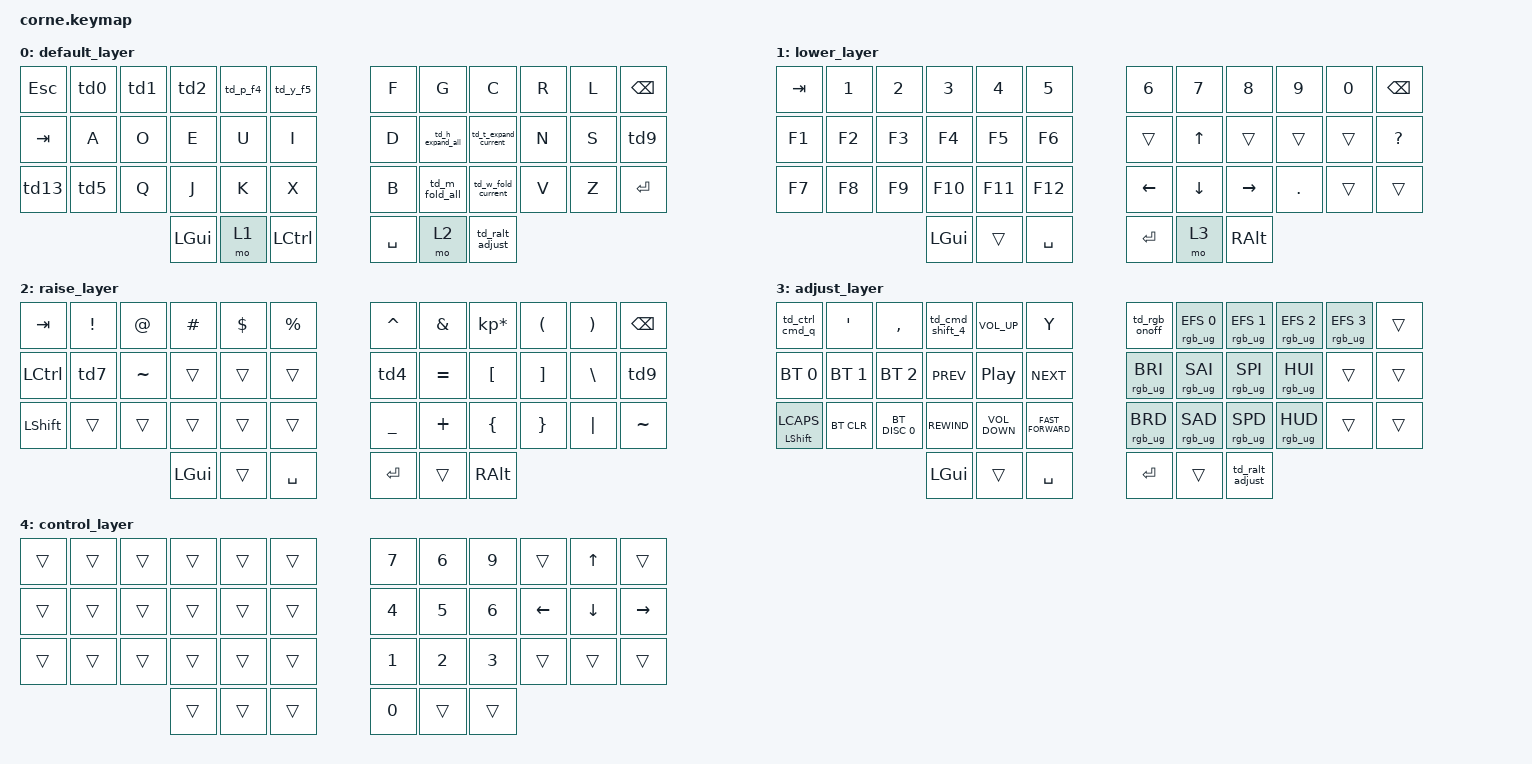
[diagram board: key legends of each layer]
/*
 * Corne Keyboard Keymap
 *
 * Based on the ZMK configuration for the Corne keyboard.
 * Original keymap source: https://github.com/SquaredPotato/zmk-config/blob/master/config/kyria.keymap
 *
 * Copyright (c) 2020 The ZMK Contributors
 *
 * SPDX-License-Identifier: MIT

 */
#include <behaviors.dtsi>
#include <dt-bindings/zmk/keys.h>
#include <dt-bindings/zmk/bt.h>
#include <dt-bindings/zmk/rgb.h>

// #include <../boards/shields/corne/boards/nice_nano.overlay> //led interno

/ {
    // Use tapdance to handle the double tap of the shift key
        behaviors {

        //? TAP DANCE ('' and "")
        td0: tap_dance_0 {
            compatible = "zmk,behavior-tap-dance";
            #binding-cells = <0>;
            tapping-term-ms = <185>;
            bindings = <&kp SQT>, <&kp DQT>;
        };

        //? TAP DANCE (, and <)
        td1: tap_dance_1 {
            compatible = "zmk,behavior-tap-dance";
            #binding-cells = <0>;
            tapping-term-ms = <185>;
            bindings = <&kp COMMA>, <&kp LT>;
        };

        //? TAP DANCE (. and >)
        td2: tap_dance_2 {
            compatible = "zmk,behavior-tap-dance";
            #binding-cells = <0>;
            tapping-term-ms = <185>;
            bindings = <&kp DOT>, <&kp GT>;
        };

        //? TAP DANCE (- and _)
        td4: tap_dance_4 {
            compatible = "zmk,behavior-tap-dance";
            #binding-cells = <0>;
            tapping-term-ms = <185>;
            bindings = <&kp MINUS>, <&kp UNDER>;
        };

        //? TAP DANCE (; and :)
        td5: tap_dance_5 {
            compatible = "zmk,behavior-tap-dance";
            #binding-cells = <0>;
            tapping-term-ms = <185>;
            bindings = <&kp SEMI>, <&kp COLON>;
        };

        //? TAP DANCE (\ and |)
        td6: tap_dance_6 {
            compatible = "zmk,behavior-tap-dance";
            #binding-cells = <0>;
            tapping-term-ms = <185>;
            bindings = <&kp BSLH>, <&kp PIPE>;
        };

        //? TAP DANCE (` and ~)
        td7: tap_dance_7 {
            compatible = "zmk,behavior-tap-dance";
            #binding-cells = <0>;
            tapping-term-ms = <185>;
            bindings = <&kp GRAVE>, <&kp TILDE>;
        };

        //? TAP DANCE (= and +)
        td8: tap_dance_8 {
            compatible = "zmk,behavior-tap-dance";
            #binding-cells = <0>;
            tapping-term-ms = <185>;
            bindings = <&kp EQUAL>, <&kp PLUS>;
        };

        //? TAP DANCE (/ and ?)
        td9: tap_dance_9 {
            compatible = "zmk,behavior-tap-dance";
            #binding-cells = <0>;
            tapping-term-ms = <185>;
            bindings = <&kp SLASH>, <&kp QMARK>;
        };

        //? TAP DANCE ([ and {)
        td10: tap_dance_10 {
            compatible = "zmk,behavior-tap-dance";
            #binding-cells = <0>;
            tapping-term-ms = <185>;
            bindings = <&kp LPAR>, <&kp RPAR>;
        };

        //? TAP DANCE (] and })
        td11: tap_dance_11 {
            compatible = "zmk,behavior-tap-dance";
            #binding-cells = <0>;
            tapping-term-ms = <185>;
            bindings = <&kp LEFT_BRACKET>, <&kp RIGHT_BRACKET>;
        };

        //? TAP DANCE ({ and })
        td12: tap_dance_12 {
            compatible = "zmk,behavior-tap-dance";
            #binding-cells = <0>;
            tapping-term-ms = <185>;
            bindings = <&kp LEFT_BRACE>, <&kp RIGHT_BRACE>;
        };

        //? TAP DANCE (Shift and Caps Lock)
        td13: tap_dance_13 {
            compatible = "zmk,behavior-tap-dance";
            #binding-cells = <0>;
            tapping-term-ms = <185>;
            bindings = <&kp LSHFT>, <&kp CLCK>;
        };

        // ? Comportamientos de combinación de teclas personalizados
      td_ctrl_cmd_q: tap_dance_ctrl_cmd_q {
            compatible = "zmk,behavior-tap-dance";
            #binding-cells = <0>;
            tapping-term-ms = <185>;
            bindings = <&kp LCTRL>, <&kp LGUI>, <&kp Q>;
        };

        td_cmd_shift_4: tap_dance_cmd_shift_4 {
            compatible = "zmk,behavior-tap-dance";
            #binding-cells = <0>;
            tapping-term-ms = <185>;
            bindings = <&kp LGUI>, <&kp LSHFT>, <&kp N4>;
        };

        td_ctrl_left: tap_dance_ctrl_left {
            compatible = "zmk,behavior-tap-dance";
            #binding-cells = <0>;
            tapping-term-ms = <185>;
            bindings = <&kp LCTRL>, <&kp LEFT>;
        };

        //? TAP DANCE (RGB ON / RGB OFF)
        td_rgb_onoff: tap_dance_rgb_onoff {
            compatible = "zmk,behavior-tap-dance";
            #binding-cells = <0>;
            tapping-term-ms = <185>;
            bindings = <&rgb_ug RGB_ON>, <&rgb_ug RGB_OFF>;
        };

        //? TAP DANCE (T normal / doble-tap = Expandir nivel actual VSCode)
        td_t_expand_current: tap_dance_t_expand_current {
            compatible = "zmk,behavior-tap-dance";
            #binding-cells = <0>;
            tapping-term-ms = <185>;
            bindings = <&kp T>, <&vscode_expand_current>;
        };

        //? TAP DANCE (W normal / doble-tap = Plegar nivel actual VSCode)
        td_w_fold_current: tap_dance_w_fold_current {
            compatible = "zmk,behavior-tap-dance";
            #binding-cells = <0>;
            tapping-term-ms = <185>;
            bindings = <&kp W>, <&vscode_fold_current>;
        };

        //? TAP DANCE (H normal / doble-tap = Expandir todo VSCode)
        td_h_expand_all: tap_dance_h_expand_all {
            compatible = "zmk,behavior-tap-dance";
            #binding-cells = <0>;
            tapping-term-ms = <185>;
            bindings = <&kp H>, <&vscode_expand_all>;
        };

        //? TAP DANCE (M normal / doble-tap = Plegar todo VSCode)
        td_m_fold_all: tap_dance_m_fold_all {
            compatible = "zmk,behavior-tap-dance";
            #binding-cells = <0>;
            tapping-term-ms = <185>;
            bindings = <&kp M>, <&vscode_fold_all>;
        };

        //? TAP DANCE (P normal / doble-tap = 4)
        td_p_f4: tap_dance_p_f4 {
            compatible = "zmk,behavior-tap-dance";
            #binding-cells = <0>;
            tapping-term-ms = <185>;
            bindings = <&kp P>, <&kp N4>;
        };

        //? TAP DANCE (Y normal / doble-tap = 5)
        td_y_f5: tap_dance_y_f5 {
            compatible = "zmk,behavior-tap-dance";
            #binding-cells = <0>;
            tapping-term-ms = <185>;
            bindings = <&kp Y>, <&kp N5>;
        };

        //? TAP DANCE (RALT normal / doble-tap = RALT / triple-tap = toggle adjust_layer)
        td_ralt_adjust: tap_dance_ralt_adjust {
            compatible = "zmk,behavior-tap-dance";
            #binding-cells = <0>;
            tapping-term-ms = <185>;
            bindings = <&kp RALT>, <&kp RALT>, <&tog 3>;
        };


    };

    macros {
        //? Plegar/expandir en VSCode (Cmd+K seguido de una segunda tecla)
        vscode_fold_current: vscode_fold_current {
            compatible = "zmk,behavior-macro";
            #binding-cells = <0>;
            wait-ms = <40>;
            tap-ms = <40>;
            bindings = <&kp LG(K)>, <&kp LG(LBKT)>;
        };

        vscode_expand_current: vscode_expand_current {
            compatible = "zmk,behavior-macro";
            #binding-cells = <0>;
            wait-ms = <40>;
            tap-ms = <40>;
            bindings = <&kp LG(K)>, <&kp LG(RBKT)>;
        };

        vscode_fold_all: vscode_fold_all {
            compatible = "zmk,behavior-macro";
            #binding-cells = <0>;
            wait-ms = <40>;
            tap-ms = <40>;
            bindings = <&kp LG(K)>, <&kp LG(N0)>;
        };

        vscode_expand_all: vscode_expand_all {
            compatible = "zmk,behavior-macro";
            #binding-cells = <0>;
            wait-ms = <40>;
            tap-ms = <40>;
            bindings = <&kp LG(K)>, <&kp LG(J)>;
        };
    };

    keymap {
        compatible = "zmk,keymap";

        /* ADD OT
        * Default Layer: Alphanumeric and Symbols
        *
        * ,-----------------------------------------------------.							   ,-----------------------------------------------------.
        * |  RAIS  |   ' "  |   , <  |   . >  |P/2x4   |Y/2x5   |							   |   F    |   G    |   C    |   R    |   L    |  BKSP   |
        * |--------+--------+--------+--------+--------+--------|							   |--------+--------+--------+--------+--------+---------|
        * |  LShift|   A    |   O    |   E    |   U    |   I    |							   |   D    |H/2xExpAll|T/2xExpCur| N    |   S    |   /     |
        * |--------+--------+--------+--------+--------+--------|							   |--------+--------+--------+--------+--------+---------|
        * |  SP_MY |   ;    |   Q    |   J    |   K    |   X    |							   |   B    |M/2xFoldAll|W/2xFoldCur| V   |   Z    |  Enter  |
        * '--------+--------+--------+--------+--------+--------|							   |--------+--------+--------+--------+--------+---------'
        *                            |   GUI  |  LWR   |  SPC   |                              |   ENT  |   RSE  |ALT/3xADJ|
        *                            '--------+--------+--------'							   '--------+--------+--------'
        *
        * ALT (pulgar derecho): tap/doble-tap normal = RALT, triple-tap = toggle adjust_layer
        *
        * H/T/M/W: tap normal, doble-tap = shortcuts de VSCode (fold/unfold):
        *   H doble-tap = Expandir todo (Cmd+K, Cmd+J)
        *   M doble-tap = Plegar todo (Cmd+K, Cmd+0)
        *   T doble-tap = Expandir nivel actual (Cmd+K, Cmd+])
        *   W doble-tap = Plegar nivel actual (Cmd+K, Cmd+[)
        */

        default_layer {
            bindings = <
                &kp ESC       &td0         &td1       &td2     &td_p_f4   &td_y_f5           &kp F &kp G  &kp C     &kp R   &kp L     &kp BSPC
                &kp TAB       &kp A        &kp O      &kp E    &kp U   &kp I           &kp D &td_h_expand_all  &td_t_expand_current     &kp N   &kp S     &td9
                &td13         &td5         &kp Q      &kp J    &kp K   &kp X           &kp B &td_m_fold_all  &td_w_fold_current     &kp V   &kp Z     &kp RET
                                                &kp LGUI    &mo 1   &kp LCTRL          &kp SPACE      &mo 2   &td_ralt_adjust
            >;
        };

        /* ADD OT
        * Lower Layer: Function keys and Navigation
        *
        * ,-----------------------------------------------------.							   ,-----------------------------------------------------.
        * |  TAB   |   1    |   2    |   3    |   4    |   5    |							   |   6    |   7    |   8    |   9    |   0    |  BKSP   |
        * |--------+--------+--------+--------+--------+--------|							   |--------+--------+--------+--------+--------+---------|
        * |  F1    |   F2   |   F3   |   F4   |   F5   |   F6   |							   |        |   UP   |        |        |        |   \     |
        * |--------+--------+--------+--------+--------+--------|							   |--------+--------+--------+--------+--------+---------|
        * |   F7   |   F8   |   F9   |   F10  |   F11  |   F12  |							   |  LEFT  |  DOWN  |  RIGHT |   .    |        |         |
        * '----------------------------------------------+------|							   |-----------------------------------------------------'
        *                             |   GUI  |  LWR   |  SPC  |							   |   ENT  |   RSE  |   ALT  |
        *                            '--------+--------+--------'							   '--------+--------+--------'
        */
        lower_layer {
            bindings = <
                &kp TAB    &kp N1      &kp N2     &kp N3      &kp N4      &kp N5                 &kp N6        &kp N7       &kp N8       &kp N9        &kp N0 &kp BSPC
                &kp F1     &kp F2      &kp F3     &kp F4      &kp F5      &kp F6                 &trans        &kp UP       &trans       &trans        &trans  &kp QMARK
                &kp F7     &kp F8      &kp F9     &kp F10     &kp F11     &kp F12                &kp LEFT      &kp DOWN     &kp RIGHT    &kp DOT       &trans  &trans
                                                    &kp LGUI     &trans      &kp SPACE         &kp RET       &mo 3       &kp RALT
            >;
        };

        /* ADD OT
        * Raise Layer: Function keys, Special Characters, and Media Controls
        *
        * ,-----------------------------------------------------.							   ,-------------------------------------------------------.
        * |   TAB   |   !    |   @    |   #    |   $    |   %    |							   |   ^    |   &    |   *    |   (    |   )    |  BSPC   |
        * |---------+--------+--------+--------+--------+--------|							   |--------+--------+--------+--------+--------+---------|
        * |  LCTRL  |   `    |   ~    |        |        |        |							   |   -    |   =    |   [    |   ]    |   \    |   `     |
        * |---------+--------+--------+--------+--------+--------|							   |--------+--------+--------+--------+--------+---------|
        * |  LSHFT  |        |        |        |        |        |							   |   _    |   +    |   {    |   }    |   |    |   ~     |
        * '------------------------------------------------------'							   '-------------------------------------------------------'
        *                           |   LGUI   |  SPC   |  RET   |                             |   RALT   |   FUN   |   RSE   |
        *                           '----------+--------+--------'                             '----------+--------+--------'
        */
        raise_layer {
            bindings = <
                &kp TAB     &kp EXCL  &kp AT     &kp HASH  &kp DLLR  &kp PRCNT  &kp CARET  &kp AMPS   &kp KP_MULTIPLY  &kp LPAR  &kp RPAR  &kp BSPC
                &kp LCTRL   &td7      &kp TILDE  &trans    &trans    &trans     &td4       &kp EQUAL  &kp LBKT         &kp RBKT  &kp BSLH  &td9
                &kp LSHFT   &trans    &trans     &trans    &trans    &trans     &kp UNDER  &kp PLUS   &kp LBRC         &kp RBRC  &kp PIPE  &kp TILDE
                                      &kp LGUI  &trans    &kp SPACE            &kp RET   &trans    &kp RALT
            >;
        };

 /* ADD OT
 * Adjust Layer: Function keys, RGB Control, and Media Controls
 *
 * ,-----------------------------------------------------.							   ,-----------------------------------------------------.
 * |   ESC   |   '    |   ,    |   .    |  VOL+  |   Y    |							   | ON/OFF | SOLID  |BREATHE |RAINBOW | SWIRL  |         |
 * |---------+--------+--------+--------+--------+--------|							   |--------+--------+--------+--------+--------+---------|
 * |   BT0   |  BT1   |  BT2   | PREV   |  PLAY  |  NEXT  |							   | BRT+   | SAT+   | SPD+   | HUE+   |        |         |
 * |---------+--------+--------+--------+--------+--------|							   |--------+--------+--------+--------+--------+---------|
 * |  SHFT   | BTCLR  | BTDISC | REWIND |  VOL-  |  FFWD  |							   | BRT-   | SAT-   | SPD-   | HUE-   |        |         |
 * '-----------------------------------------------------'							   '-----------------------------------------------------'
 *                              |   LGUI   |  SPC   |  RET   |                              |   RALT   |   FUN   |   RSE   |
 *                              '----------+--------+--------'                              '----------+--------+--------'
 *
 * RGB (mitad derecha de adjust_layer):
 *   Fila 1: F: tap=ON, doble-tap=OFF   C=Solid   R=Breathe   L=Rainbow(Spectrum)   siguiente=Swirl
 *   Fila 2 (subir): D=Brillo+  H=Sat+  T=Velocidad+  N=Hue+
 *   Fila 3 (bajar):  B=Brillo-  M=Sat-  W=Velocidad-  V=Hue-
 * Bluetooth (mitad izquierda de adjust_layer):
 *   BT0/BT1/BT2 = seleccionar perfil   BTCLR = borrar emparejamiento actual
 *   BTDISC = forzar desconexion/reconexion
 */
        adjust_layer {
                bindings = <
                &td_ctrl_cmd_q   &kp SQT       &kp COMMA      &td_cmd_shift_4  &kp C_VOLUME_UP    &kp Y                      &td_rgb_onoff    &rgb_ug RGB_EFS_CMD 0  &rgb_ug RGB_EFS_CMD 1  &rgb_ug RGB_EFS_CMD 2  &rgb_ug RGB_EFS_CMD 3  &trans
                &bt BT_SEL 0     &bt BT_SEL 1  &bt BT_SEL 2   &kp C_PREV       &kp C_PLAY_PAUSE   &kp K_NEXT                 &rgb_ug RGB_BRI  &rgb_ug RGB_SAI        &rgb_ug RGB_SPI        &rgb_ug RGB_HUI        &trans                 &trans
                &mt LSHFT LCAPS  &bt BT_CLR    &bt BT_DISC 0  &kp C_REWIND     &kp C_VOLUME_DOWN  &kp C_FAST_FORWARD         &rgb_ug RGB_BRD  &rgb_ug RGB_SAD        &rgb_ug RGB_SPD        &rgb_ug RGB_HUD        &trans                 &trans
                                                               &kp LGUI         &trans             &kp SPACE                 &kp RET                &trans                 &td_ralt_adjust
            >;
        };
 /* ADD OT
 * Control Layer: Function keys, RGB Control, and Media Controls
 *
 * ,-----------------------------------------------------.							   ,-------------------------------------------------------.
 * |   ESC   |   '    |   ,    |   .    |  VOL+  |   Y    |							   |   7    |   8    |   9    |   +     |         |   UP   |
 * |---------+--------+--------+--------+--------+--------|							   |--------+--------+--------+---------+--------+--------+
 * |   TAB   |   A    |   A    | PREV   |  PLAY  |  NEXT  |							   |   4    |   5    |   6    |   -     |    LEFT | RIGHT  |
 * |---------+--------+--------+--------+--------+--------|							   |--------+--------+--------+---------+--------+--------+
 * |   SHFT  |  RGB   |   S    | REWIND |  VOL-  |  FFWD  |							   |   1    |   2    |   3    |   =     |    B    |  DOWN  |
 * '-----------------------------------------------------'							   '-------------------------------------------------------.
 *                          |   LGUI   |  SPC   |  RET   |                              |   RALT   |   FUN   |   RSE   |
 *                          '----------+--------+--------'                              '----------+--------+--------'
 */
        control_layer {
                bindings = <
                &trans          &trans          &trans          &trans          &trans          &trans              &kp N7          &kp N6          &kp N9          &trans          &kp UP          &trans
                &trans          &trans          &trans          &trans          &trans          &trans              &kp N4          &kp N5          &kp N6          &kp LEFT        &kp DOWN        &kp RIGHT
                &trans          &trans          &trans          &trans          &trans          &trans              &kp N1          &kp N2          &kp N3          &trans          &trans          &trans
                                                                &trans          &trans          &trans              &kp N0          &trans          &trans
            >;
        };
    };
};
